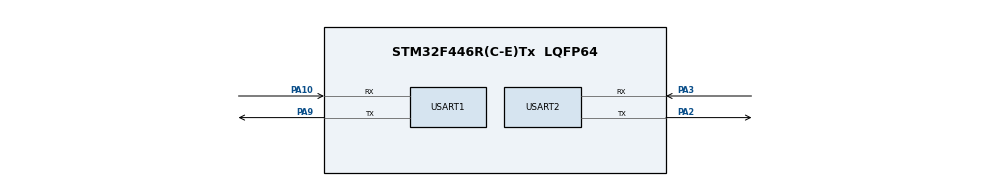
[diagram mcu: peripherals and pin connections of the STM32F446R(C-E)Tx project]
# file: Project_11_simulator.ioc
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Mcu.Family=STM32F4
Mcu.Name=STM32F446R(C-E)Tx
Mcu.Package=LQFP64
NVIC.PriorityGroup=NVIC_PRIORITYGROUP_4
NVIC.USART1_IRQn=true\:0\:0\:false\:false\:true\:true\:true\:true
PA10.Mode=Asynchronous
PA10.Signal=USART1_RX
PA2.Mode=Asynchronous
PA2.Signal=USART2_TX
PA3.Mode=Asynchronous
PA3.Signal=USART2_RX
PA9.Mode=Asynchronous
PA9.Signal=USART1_TX
ProjectManager.HeapSize=0x200
ProjectManager.StackSize=0x400
ProjectManager.TargetToolchain=STM32CubeIDE
RCC.CortexFreq_Value=16000000
RCC.USBFreq_Value=96000000
RCC.VCOOutputFreq_Value=192000000
USART1.VirtualMode=VM_ASYNC
USART2.VirtualMode=VM_ASYNC
board=custom

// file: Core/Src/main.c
/* USER CODE BEGIN Header */
/**
  ******************************************************************************
  * @file           : main.c
  * @brief          : Main program body
  ******************************************************************************
  * @attention
  *
  * Copyright (c) 2026 STMicroelectronics.
  * All rights reserved.
  *
  * This software is licensed under terms that can be found in the LICENSE file
  * in the root directory of this software component.
  * If no LICENSE file comes with this software, it is provided AS-IS.
  *
  ******************************************************************************
  */
/* USER CODE END Header */
#include "main.h"

/* USER CODE BEGIN Includes */

#include <stdio.h>

/* USER CODE END Includes */

UART_HandleTypeDef huart1;
UART_HandleTypeDef huart2;

void SystemClock_Config(void);
static void MX_GPIO_Init(void);
static void MX_USART1_UART_Init(void);
static void MX_USART2_UART_Init(void);

int main(void)
{

  /* USER CODE BEGIN 1 */

	uint8_t ibus_payload[30];
	uint8_t sync_byte;
	uint16_t roll, pitch, throttle, yaw, swA,swB, swC;
	char tx_buffer[64];

  /* USER CODE END 1 */

  /* MCU Configuration--------------------------------------------------------*/

  /* Reset of all peripherals, Initializes the Flash interface and the Systick. */
  HAL_Init();

  /* Configure the system clock */
  SystemClock_Config();

  /* Initialize all configured peripherals */
  MX_GPIO_Init();
  MX_USART1_UART_Init();
  MX_USART2_UART_Init();

  /* Infinite loop */
  while (1)
  {

    /* USER CODE BEGIN 3 */
	  if (HAL_UART_Receive(&huart1, &sync_byte, 1, 5) == HAL_OK && sync_byte == 0x20){
		  if (HAL_UART_Receive(&huart1, &sync_byte, 1, 5) == HAL_OK && sync_byte == 0x40){
			if (HAL_UART_Receive(&huart1, ibus_payload, 30, 10) == HAL_OK){
				roll = ibus_payload[0] | (ibus_payload[1] << 8);
				pitch = ibus_payload[2] | (ibus_payload[3] << 8);
				throttle = ibus_payload[4] | (ibus_payload[5] << 8);
				yaw = ibus_payload[6] | (ibus_payload[7] << 8);

				swA = ibus_payload[8] | (ibus_payload[9] << 8);
				swB = ibus_payload[10] | (ibus_payload[11] << 8);
				swC = ibus_payload[12] | (ibus_payload[13] << 8);

				int len = sprintf(tx_buffer, "%d,%d,%d,%d,%d,%d,%d\n", roll, pitch, throttle, yaw, swA, swB, swC);
				HAL_UART_Transmit(&huart2, (uint8_t*)tx_buffer, len, 10);
			}

		  }

	  }
  }
  /* USER CODE END 3 */
}

void SystemClock_Config(void)
{
  RCC_OscInitTypeDef RCC_OscInitStruct = {0};
  RCC_ClkInitTypeDef RCC_ClkInitStruct = {0};

  /** Configure the main internal regulator output voltage
  */
  __HAL_RCC_PWR_CLK_ENABLE();
  __HAL_PWR_VOLTAGESCALING_CONFIG(PWR_REGULATOR_VOLTAGE_SCALE3);

  /** Initializes the RCC Oscillators according to the specified parameters
  * in the RCC_OscInitTypeDef structure.
  */
  RCC_OscInitStruct.OscillatorType = RCC_OSCILLATORTYPE_HSI;
  RCC_OscInitStruct.HSIState = RCC_HSI_ON;
  RCC_OscInitStruct.HSICalibrationValue = RCC_HSICALIBRATION_DEFAULT;
  RCC_OscInitStruct.PLL.PLLState = RCC_PLL_NONE;
  if (HAL_RCC_OscConfig(&RCC_OscInitStruct) != HAL_OK)
  {
    Error_Handler();
  }

  /** Initializes the CPU, AHB and APB buses clocks
  */
  RCC_ClkInitStruct.ClockType = RCC_CLOCKTYPE_HCLK|RCC_CLOCKTYPE_SYSCLK
                              |RCC_CLOCKTYPE_PCLK1|RCC_CLOCKTYPE_PCLK2;
  RCC_ClkInitStruct.SYSCLKSource = RCC_SYSCLKSOURCE_HSI;
  RCC_ClkInitStruct.AHBCLKDivider = RCC_SYSCLK_DIV1;
  RCC_ClkInitStruct.APB1CLKDivider = RCC_HCLK_DIV1;
  RCC_ClkInitStruct.APB2CLKDivider = RCC_HCLK_DIV1;

  if (HAL_RCC_ClockConfig(&RCC_ClkInitStruct, FLASH_LATENCY_0) != HAL_OK)
  {
    Error_Handler();
  }
}

static void MX_USART1_UART_Init(void)
{

  huart1.Instance = USART1;
  huart1.Init.BaudRate = 115200;
  huart1.Init.WordLength = UART_WORDLENGTH_8B;
  huart1.Init.StopBits = UART_STOPBITS_1;
  huart1.Init.Parity = UART_PARITY_NONE;
  huart1.Init.Mode = UART_MODE_TX_RX;
  huart1.Init.HwFlowCtl = UART_HWCONTROL_NONE;
  huart1.Init.OverSampling = UART_OVERSAMPLING_16;
  if (HAL_UART_Init(&huart1) != HAL_OK)
  {
    Error_Handler();
  }

}

static void MX_USART2_UART_Init(void)
{

  huart2.Instance = USART2;
  huart2.Init.BaudRate = 115200;
  huart2.Init.WordLength = UART_WORDLENGTH_8B;
  huart2.Init.StopBits = UART_STOPBITS_1;
  huart2.Init.Parity = UART_PARITY_NONE;
  huart2.Init.Mode = UART_MODE_TX_RX;
  huart2.Init.HwFlowCtl = UART_HWCONTROL_NONE;
  huart2.Init.OverSampling = UART_OVERSAMPLING_16;
  if (HAL_UART_Init(&huart2) != HAL_OK)
  {
    Error_Handler();
  }

}

static void MX_GPIO_Init(void)
{

  /* GPIO Ports Clock Enable */
  __HAL_RCC_GPIOA_CLK_ENABLE();

}

void Error_Handler(void)
{
  __disable_irq();
  while (1)
  {
  }
}
